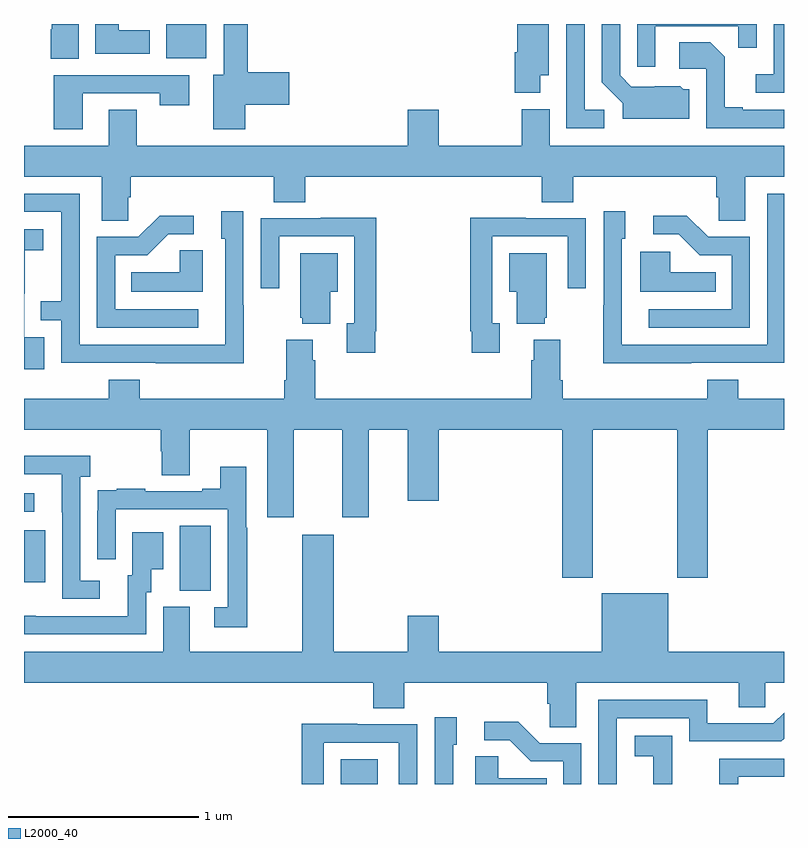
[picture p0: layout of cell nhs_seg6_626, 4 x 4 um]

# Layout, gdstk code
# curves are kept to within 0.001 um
import gdstk
lib = gdstk.Library(unit=1e-6, precision=1e-09)
def R(c, l, rs):  # rectangles x0, y0, x1, y1
    for r in rs: c.add(gdstk.rectangle(r[:2], r[2:], *l))
def P(c, l, *ps):  # polygons
    for p in ps: c.add(gdstk.Polygon(p, *l))
L2000_40 = (2000, 40)

nhs_seg6_626 = lib.new_cell('nhs_seg6_626')
R(nhs_seg6_626, L2000_40, [(152.666,917.5,152.863,917.629), (151.82,918.517,151.984,918.86), (151,918.561,151.111,918.835), (151,918.933,151.054,919.029), (151.748,921.32,151.96,921.5)])
P(nhs_seg6_626, L2000_40, [(155,921.5),(154.947,921.5),(154.947,921.235),(154.851,921.235),(154.851,921.138),(155,921.138)],
  [(153.718,921.23),(153.763,921.23),(153.763,921.5),(153.596,921.5),(153.596,921.351),(153.584,921.351),(153.584,921.137),(153.718,921.137)],
  [(151.288,921.5),(151.147,921.5),(151.147,921.473),(151.142,921.473),(151.142,921.316),(151.288,921.316)],
  [(151.663,921.466),(151.498,921.466),(151.498,921.5),(151.376,921.5),(151.376,921.344),(151.663,921.344)],
  [(154.323,921.489),(154.759,921.489),(154.759,921.376),(154.857,921.376),(154.857,921.5),(154.227,921.5),(154.227,921.276),(154.323,921.276)],
  [(154.501,921.156),(154.47,921.156),(154.454,921.172),(154.197,921.171),(154.137,921.231),(154.137,921.5),(154.041,921.5),(154.041,921.194),(154.151,921.084),(154.151,921.002),(154.501,921.002)],
  [(152.164,921.074),(152.395,921.074),(152.395,921.245),(152.177,921.245),(152.177,921.5),(152.051,921.5),(152.051,921.232),(151.997,921.232),(151.997,920.946),(152.164,920.946)],
  [(154.054,921.048),(153.951,921.048),(153.951,921.5),(153.855,921.5),(153.855,920.952),(154.054,920.952)],
  [(155,921.048),(154.783,921.048),(154.783,921.061),(154.689,921.061),(154.689,921.328),(154.613,921.404),(154.449,921.404),(154.449,921.264),(154.59,921.264),(154.59,920.952),(155,920.952)],
  [(151.309,921.135),(151.714,921.135),(151.714,921.072),(151.87,921.072),(151.87,921.231),(151.157,921.231),(151.157,920.946),(151.309,920.946)],
  [(151.548,920.587),(151.562,920.587),(151.562,920.696),(152.315,920.696),(152.315,920.563),(152.48,920.563),(152.48,920.696),(153.725,920.696),(153.725,920.563),(153.89,920.563),(153.89,920.696),(154.643,920.696),(154.643,920.587),(154.656,920.587),(154.656,920.464),(154.795,920.464),(154.795,920.696),(155,920.696),(155,920.86),(153.766,920.86),(153.766,921.052),(153.619,921.052),(153.619,920.86),(153.184,920.86),(153.184,921.049),(153.02,921.049),(153.02,920.86),(151.593,920.86),(151.593,921.05),(151.445,921.05),(151.445,920.86),(151,920.86),(151,920.696),(151.409,920.696),(151.409,920.464),(151.548,920.464)],
  [(154.511,919.716),(155,919.716),(155,920.607),(154.911,920.607),(154.911,919.812),(154.147,919.812),(154.147,920.066),(154.146,920.066),(154.146,920.37),(154.165,920.37),(154.165,920.515),(154.05,920.515),(154.05,920.021),(154.048,920.021),(154.048,919.715),(154.511,919.715)],
  [(152.157,920.021),(152.154,920.021),(152.154,920.515),(152.039,920.515),(152.039,920.37),(152.058,920.37),(152.058,919.812),(151.293,919.812),(151.293,920.607),(151,920.607),(151,920.511),(151.197,920.511),(151.197,920.042),(151.087,920.042),(151.087,919.941),(151.197,919.941),(151.197,919.716),(151.693,919.716),(151.693,919.715),(152.157,919.715)],
  [(154.821,920.379),(154.602,920.379),(154.489,920.492),(154.311,920.492),(154.311,920.394),(154.445,920.394),(154.556,920.283),(154.725,920.283),(154.725,919.998),(154.287,919.998),(154.287,919.902),(154.821,919.902)],
  [(151.918,919.998),(151.479,919.998),(151.479,920.283),(151.648,920.283),(151.759,920.394),(151.894,920.394),(151.894,920.492),(151.715,920.492),(151.602,920.379),(151.383,920.379),(151.383,919.902),(151.918,919.902)],
  [(153.505,919.926),(153.465,919.926),(153.465,920.382),(153.861,920.382),(153.861,920.109),(153.957,920.109),(153.957,920.478),(153.641,920.478),(153.641,920.48),(153.349,920.48),(153.349,919.882),(153.357,919.882),(153.357,919.77),(153.505,919.77)],
  [(152.848,919.882),(152.855,919.882),(152.855,920.48),(152.563,920.48),(152.563,920.478),(152.247,920.478),(152.247,920.109),(152.343,920.109),(152.343,920.382),(152.739,920.382),(152.739,919.926),(152.699,919.926),(152.699,919.77),(152.848,919.77)],
  [(151.107,919.851),(151.002,919.851),(151.002,920.081),(151.004,920.081),(151.004,920.309),(151.102,920.309),(151.102,920.419),(151,920.419),(151,919.683),(151.107,919.683)],
  [(151.942,920.309),(151.821,920.309),(151.821,920.194),(151.564,920.194),(151.564,920.09),(151.942,920.09)],
  [(154.64,920.194),(154.401,920.194),(154.401,920.302),(154.244,920.302),(154.244,920.09),(154.64,920.09)],
  [(152.611,920.09),(152.65,920.09),(152.65,920.293),(152.453,920.293),(152.453,919.953),(152.465,919.953),(152.465,919.922),(152.611,919.922)],
  [(153.74,919.953),(153.751,919.953),(153.751,920.293),(153.554,920.293),(153.554,920.09),(153.593,920.09),(153.593,919.922),(153.74,919.922)],
  [(153.823,919.624),(153.823,919.837),(153.683,919.837),(153.683,919.73),(153.671,919.73),(153.671,919.528),(152.534,919.528),(152.534,919.73),(152.521,919.73),(152.521,919.837),(152.381,919.837),(152.381,919.624),(152.369,919.624),(152.369,919.528),(151.61,919.528),(151.61,919.627),(151.445,919.627),(151.445,919.528),(151,919.528),(151,919.364),(151.721,919.364),(151.721,919.251),(151.726,919.251),(151.726,919.126),(151.873,919.126),(151.873,919.364),(152.279,919.364),(152.279,918.903),(152.419,918.903),(152.419,919.364),(152.675,919.364),(152.675,918.903),(152.815,918.903),(152.815,919.364),(153.02,919.364),(153.02,918.99),(153.184,918.99),(153.184,919.364),(153.833,919.364),(153.833,918.585),(153.993,918.585),(153.993,919.364),(154.438,919.364),(154.438,918.585),(154.598,918.585),(154.598,919.364),(155,919.364),(155,919.528),(154.76,919.528),(154.76,919.627),(154.595,919.627),(154.595,919.528),(153.836,919.528),(153.836,919.624)],
  [(151.399,918.57),(151.296,918.57),(151.296,919.118),(151.348,919.118),(151.348,919.228),(151,919.228),(151,919.131),(151.199,919.131),(151.199,918.931),(151.2,918.931),(151.2,918.474),(151.399,918.474)],
  [(152.174,918.848),(152.169,918.848),(152.169,919.171),(152.033,919.171),(152.033,919.054),(151.937,919.054),(151.937,919.041),(151.637,919.041),(151.637,919.054),(151.489,919.054),(151.489,919.047),(151.387,919.047),(151.387,918.938),(151.386,918.938),(151.386,918.684),(151.482,918.684),(151.482,918.945),(152.073,918.945),(152.073,918.429),(152.001,918.429),(152.001,918.324),(152.174,918.324)],
  [(151.644,918.51),(151.669,918.51),(151.669,918.629),(151.732,918.629),(151.732,918.826),(151.571,918.826),(151.571,918.6),(151.547,918.6),(151.547,918.384),(151.063,918.384),(151.063,918.385),(151,918.385),(151,918.288),(151.644,918.288)],
  [(153.907,918.032),(154.763,918.032),(154.763,917.905),(154.902,917.905),(154.902,918.032),(155,918.032),(155,918.196),(154.39,918.196),(154.39,918.505),(154.04,918.505),(154.04,918.196),(153.184,918.196),(153.184,918.385),(153.02,918.385),(153.02,918.196),(152.629,918.196),(152.629,918.811),(152.465,918.811),(152.465,918.196),(151.873,918.196),(151.873,918.432),(151.733,918.432),(151.733,918.196),(151,918.196),(151,918.032),(152.837,918.032),(152.837,917.899),(153.002,917.899),(153.002,918.032),(153.755,918.032),(153.755,917.923),(153.768,917.923),(153.768,917.8),(153.907,917.8)],
  [(154.119,917.847),(154.5,917.847),(154.5,917.724),(154.986,917.724),(155,917.738),(155,917.876),(154.944,917.82),(154.597,917.82),(154.597,917.943),(154.023,917.943),(154.023,917.5),(154.119,917.5)],
  [(153.258,917.706),(153.277,917.706),(153.277,917.851),(153.162,917.851),(153.162,917.5),(153.258,917.5)],
  [(153.933,917.715),(153.714,917.715),(153.601,917.828),(153.423,917.828),(153.423,917.73),(153.557,917.73),(153.668,917.619),(153.837,917.619),(153.837,917.5),(153.933,917.5)],
  [(152.577,917.718),(152.973,917.718),(152.973,917.5),(153.069,917.5),(153.069,917.814),(152.753,917.814),(152.753,917.816),(152.461,917.816),(152.461,917.5),(152.577,917.5)],
  [(154.412,917.549),(154.413,917.549),(154.413,917.755),(154.215,917.755),(154.215,917.645),(154.313,917.645),(154.313,917.5),(154.412,917.5)],
  [(153.752,917.53),(153.495,917.53),(153.495,917.645),(153.374,917.645),(153.374,917.5),(153.752,917.5)],
  [(154.758,917.538),(155,917.538),(155,917.634),(154.66,917.634),(154.66,917.5),(154.758,917.5)])

lib.write_gds('nhs_seg6_626.gds')
